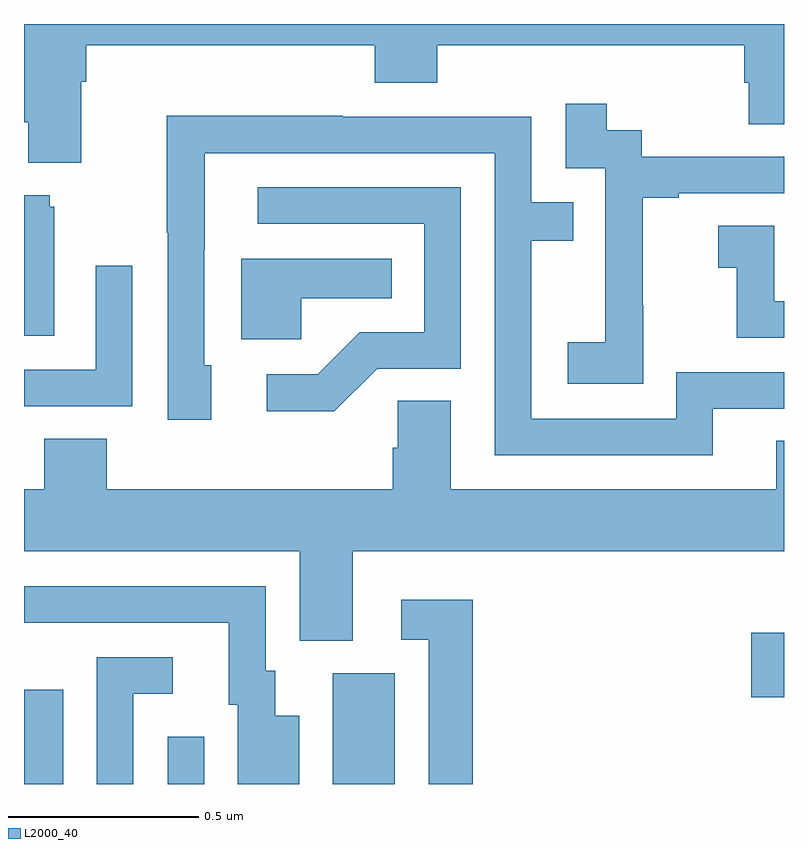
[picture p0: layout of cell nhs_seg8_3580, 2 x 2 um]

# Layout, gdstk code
import gdstk
lib = gdstk.Library(unit=1e-6, precision=1e-09)
def R(c, l, rs):  # rectangles x0, y0, x1, y1
    for r in rs: c.add(gdstk.rectangle(r[:2], r[2:], *l))
def P(c, l, *ps):  # polygons
    for p in ps: c.add(gdstk.Polygon(p, *l))
L2000_40 = (2000, 40)

nhs_seg8_3580 = lib.new_cell('nhs_seg8_3580')
R(nhs_seg8_3580, L2000_40, [(159,1103.9,159.103,1104.148), (159.378,1103.9,159.474,1104.025), (159.812,1103.9,159.976,1104.192), (160.914,1104.128,161,1104.298)])
P(nhs_seg8_3580, L2000_40, [(159.151,1105.748),(159.164,1105.748),(159.164,1105.844),(159.923,1105.844),(159.923,1105.745),(160.088,1105.745),(160.088,1105.844),(160.895,1105.844),(160.895,1105.746),(160.907,1105.746),(160.907,1105.636),(161,1105.636),(161,1105.9),(159,1105.9),(159,1105.642),(159.011,1105.642),(159.011,1105.535),(159.151,1105.535)],
  [(160.629,1105.159),(160.628,1105.159),(160.628,1105.443),(160.723,1105.443),(160.723,1105.455),(161,1105.455),(161,1105.551),(160.626,1105.551),(160.626,1105.62),(160.534,1105.62),(160.534,1105.69),(160.425,1105.69),(160.425,1105.521),(160.53,1105.521),(160.53,1105.292),(160.529,1105.292),(160.529,1105.063),(160.431,1105.063),(160.431,1104.953),(160.629,1104.953)],
  [(160.813,1104.888),(161,1104.888),(161,1104.984),(160.716,1104.984),(160.716,1104.861),(160.335,1104.861),(160.335,1105.33),(160.445,1105.33),(160.445,1105.431),(160.335,1105.431),(160.335,1105.656),(159.839,1105.656),(159.839,1105.658),(159.376,1105.658),(159.376,1105.351),(159.378,1105.351),(159.378,1104.858),(159.493,1104.858),(159.493,1105.002),(159.474,1105.002),(159.474,1105.306),(159.475,1105.306),(159.475,1105.56),(160.239,1105.56),(160.239,1104.765),(160.813,1104.765)],
  [(159.93,1104.993),(160.149,1104.993),(160.149,1105.47),(159.615,1105.47),(159.615,1105.374),(160.053,1105.374),(160.053,1105.089),(159.884,1105.089),(159.773,1104.978),(159.639,1104.978),(159.639,1104.881),(159.817,1104.881)],
  [(159.079,1105.419),(159.068,1105.419),(159.068,1105.45),(159,1105.45),(159,1105.079),(159.079,1105.079)],
  [(161,1105.17),(160.974,1105.17),(160.974,1105.369),(160.827,1105.369),(160.827,1105.259),(160.876,1105.259),(160.876,1105.074),(161,1105.074)],
  [(159.729,1105.178),(159.968,1105.178),(159.968,1105.282),(159.572,1105.282),(159.572,1105.07),(159.729,1105.07)],
  [(159.285,1105.264),(159.189,1105.264),(159.189,1104.99),(159,1104.99),(159,1104.894),(159.285,1104.894)],
  [(159.865,1104.512),(161,1104.512),(161,1104.803),(160.979,1104.803),(160.979,1104.676),(160.123,1104.676),(160.123,1104.908),(159.984,1104.908),(159.984,1104.785),(159.971,1104.785),(159.971,1104.676),(159.218,1104.676),(159.218,1104.809),(159.053,1104.809),(159.053,1104.676),(159,1104.676),(159,1104.512),(159.725,1104.512),(159.725,1104.277),(159.865,1104.277)],
  [(159.724,1104.079),(159.661,1104.079),(159.661,1104.198),(159.636,1104.198),(159.636,1104.42),(159,1104.42),(159,1104.324),(159.539,1104.324),(159.539,1104.108),(159.563,1104.108),(159.563,1103.9),(159.724,1103.9)],
  [(160.181,1104.385),(159.993,1104.385),(159.993,1104.279),(160.065,1104.279),(160.065,1103.9),(160.181,1103.9)],
  [(159.288,1104.138),(159.391,1104.138),(159.391,1104.234),(159.192,1104.234),(159.192,1103.9),(159.288,1103.9)])

lib.write_gds('nhs_seg8_3580.gds')
